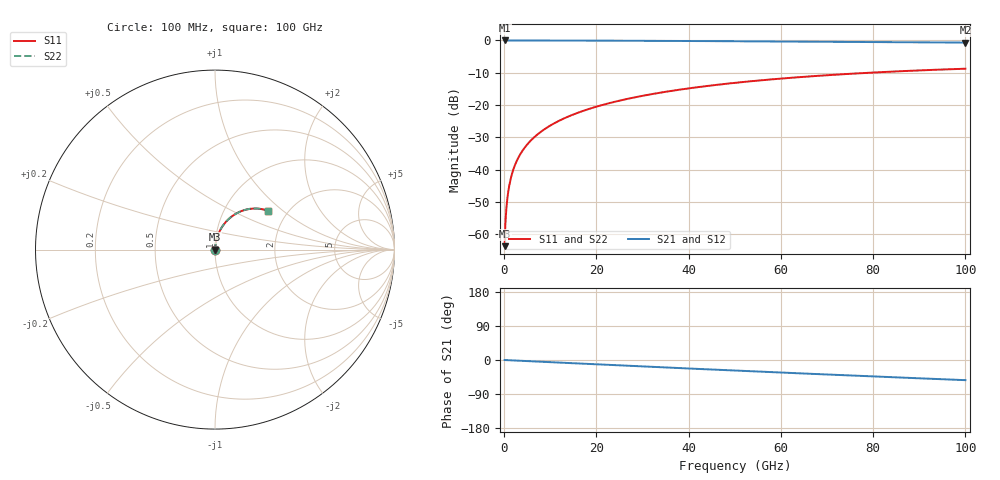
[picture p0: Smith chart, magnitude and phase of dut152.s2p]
! Touchstone file exported from HFSS 2026.1.0
!  File:  C:/ffzhzh/LocalFiles/Ansys_Project_Files/temp_train_TSV_152_1783506642_55944.aedt
!  Generated:  06:32:01 PM Jul  8, 2026
!  Design:  TSV
!  Project:  temp_train_TSV_152_1783506642_55944
! Variables:
!  h_bsmrdl = 2um
!  h_ox = 20um
!  h_rdl = 5um
!  h_sub = 99.04um
!  h_tmrdl = 5um
!  h_tsv = 99.04um
!  h_via = 3um
!  l_bsmrdl = 300um
!  l_sub = 411.28um
!  l_tmrdl = 200um
!  m_sub = 200um
!  pitch = 50.26um
!  r_tsv = 5.64um
!  s_tmrdl = 10um
!  w_bsmrdl = 18um
!  w_sub = 500um
!  w_tmrdl = 12um
!  x_tsv_center1 = 206um
!  x_tsv_center2 = 524um
!  x_tsv_center3 = 736um
!  x_tsv_center4 = 1054um
!  x_tsv_center5 = 1266um
!  x_tsv_center6 = 1584um
# GHz S MA R 50.000000
! Terminal data exported
! Port[1] = TSV1_1_T1
! Port[2] = TSV1_1_T2
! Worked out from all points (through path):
!   1000 points, 100 MHz to 100 GHz, reference 50 ohm
!   highest |S21| = 0.00 dB at 100 MHz (marker M1); lowest = -0.7 dB at 100 GHz (marker M2)
!   group delay of S21, straight-line fit = 1.48 ps
!   lowest |S11| = -63.7 dB at 100 MHz (marker M3), VSWR 1.00, Z = 50 + j0.0525 ohm
!   |S11| at or under -10 dB: start of sweep to 79.2 GHz
!   |S22| runs from -63.7 to -8.8 dB; largest |S21 - S12| = 4.1e-15
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0.1  0.0006517 53.6  0.9996 -0.1  0.9996 -0.1  0.0006517 53.6
! Gamma 0 0 0 0
! Port Impedance 50 0 50 0
0.4  0.002099 78.1  0.9996 -0.2  0.9996 -0.2  0.002099 78.1
0.7  0.003599 82.2  0.9995 -0.4  0.9995 -0.4  0.003599 82.2
0.8  0.004101 82.9  0.9995 -0.5  0.9995 -0.5  0.004101 82.9
1  0.005103 83.8  0.9995 -0.6  0.9995 -0.6  0.005103 83.8
1.3  0.006602 84.5  0.9994 -0.8  0.9994 -0.8  0.006602 84.5
1.7  0.008586 84.8  0.9993 -1.0  0.9993 -1.0  0.008586 84.8
2.3  0.01153 85.0  0.9992 -1.3  0.9992 -1.3  0.01153 85.0
3  0.01492 84.9  0.999 -1.7  0.999 -1.7  0.01492 84.9
3.8  0.01876 84.7  0.9988 -2.2  0.9988 -2.2  0.01876 84.7
4.8  0.02353 84.4  0.9986 -2.8  0.9986 -2.8  0.02353 84.4
6  0.02922 84.0  0.9983 -3.4  0.9983 -3.4  0.02922 84.0
8.8  0.04245 82.9  0.9976 -5.0  0.9976 -5.0  0.04245 82.9
12.4  0.05932 81.1  0.9964 -7.1  0.9964 -7.1  0.05932 81.1
16.8  0.07968 78.9  0.9947 -9.6  0.9947 -9.6  0.07968 78.9
24.2  0.1132 75.0  0.991 -13.7  0.991 -13.7  0.1132 75.0
33.4  0.1534 70.1  0.9852 -18.8  0.9852 -18.8  0.1534 70.1
41.2  0.1859 66.0  0.9793 -23.1  0.9793 -23.1  0.1859 66.0
50.1  0.2208 61.3  0.9718 -27.8  0.9718 -27.8  0.2208 61.3
66.7  0.2789 52.7  0.9564 -36.6  0.9564 -36.6  0.2789 52.7
83.4  0.3274 44.3  0.9407 -45.0  0.9407 -45.0  0.3274 44.3
100  0.3649 36.2  0.9266 -53.2  0.9266 -53.2  0.3649 36.2
